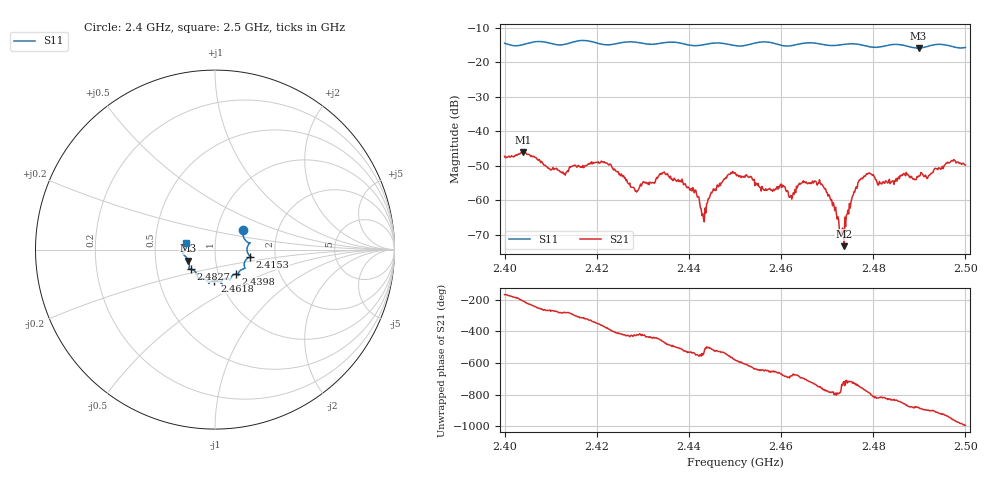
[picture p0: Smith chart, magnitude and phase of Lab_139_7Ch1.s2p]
# Hz S RI R 50
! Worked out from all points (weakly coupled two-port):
!   601 points, 2.4 GHz to 2.5 GHz, reference 50 ohm
!   highest |S21| = -46.13 dB at 2.404 GHz (marker M1); lowest = -73.3 dB at 2.4737 GHz (marker M2)
!   lowest |S11| = -15.9 dB at 2.4898 GHz (marker M3), VSWR 1.38, Z = 36.8 - j4.62 ohm
!   |S11| at or under -10 dB: start of sweep to end of sweep
!   S12 and S22 are empty: the file has one direction only
!   S11 on the Smith chart (normalised r, x): 2.4 GHz: 1.33, +0.29; 2.4153 GHz: 1.48, -0.12; 2.4398 GHz: 1.21, -0.34; 2.4618 GHz: 0.94, -0.33; 2.4827 GHz: 0.75, -0.17; 2.5 GHz: 0.72, +0.06
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2.4e9  0.1556 0.1067  -0.00427 -0.000822  0 0  0 0
2.404e9  0.174 0.0469  -0.00433 0.00237  0 0  0 0
2.412667e9  0.1795 -0.0102  0.000625 0.0025  0 0  0 0
2.415333e9  0.1965 -0.0395  0.00172 0.00271  0 0  0 0
2.416667e9  0.2023 -0.0434  0.00212 0.00219  0 0  0 0
2.4225e9  0.1647 -0.0705  0.00299 -0.00145  0 0  0 0
2.428667e9  0.1639 -0.1052  0.000625 -0.00116  0 0  0 0
2.433333e9  0.1299 -0.1336  0.000144 -0.00219  0 0  0 0
2.439833e9  0.1156 -0.1361  -0.00153 -0.000252  0 0  0 0
2.443167e9  0.0879 -0.1568  -0.000537 4.63e-05  0 0  0 0
2.445167e9  0.0837 -0.1695  -0.00124 -0.000545  0 0  0 0
2.45e9  0.065 -0.1622  -0.00186 0.00169  0 0  0 0
2.461833e9  -0.00324 -0.1726  0.000997 0.000474  0 0  0 0
2.466667e9  -0.0347 -0.1881  0.00177 -0.000145  0 0  0 0
2.469333e9  -0.0424 -0.1746  0.000984 -0.00115  0 0  0 0
2.473167e9  -0.0823 -0.1601  0.000331 -9.1e-05  0 0  0 0
2.473667e9  -0.0865 -0.1599  0.000216 9.08e-06  0 0  0 0
2.477167e9  -0.097 -0.1516  0.00166 -0.00107  0 0  0 0
2.482667e9  -0.1348 -0.1088  -0.000476 -0.00185  0 0  0 0
2.483333e9  -0.14 -0.1085  -0.000561 -0.00177  0 0  0 0
2.489833e9  -0.1483 -0.0611  -0.00212 -0.000749  0 0  0 0
2.5e9  -0.1594 0.0386  0.000254 0.00323  0 0  0 0
